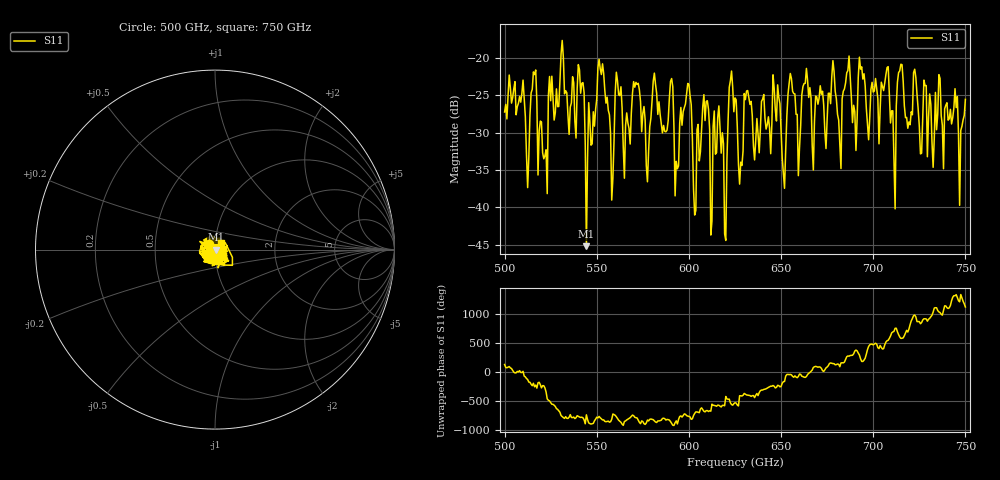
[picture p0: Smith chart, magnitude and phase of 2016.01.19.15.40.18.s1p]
!Created with skrf (http://scikit-rf.org).
# GHz S RI R 50.0
!freq ReS11 ImS11
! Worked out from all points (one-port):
!   401 points, 500 GHz to 750 GHz, reference 50 ohm
!   lowest |S11| = -45.2 dB at 544.4 GHz (marker M1), VSWR 1.01, Z = 50.5 - j0.11 ohm
!   |S11| at or under -10 dB: start of sweep to end of sweep
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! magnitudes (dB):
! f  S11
! 500 GHz  -27.3
! 512.5 GHz  -37.4
! 515.6 GHz  -21.9
! 521.9 GHz  -33.1
! 531.2 GHz  -17.7
! 541.2 GHz  -24.7
! 544.4 GHz  -45.2
! 551.9 GHz  -21.5
! 558.1 GHz  -39.0
! 562.5 GHz  -25.1
! 577.5 GHz  -36.6
! 590.6 GHz  -22.8
! 593.8 GHz  -34.9
! 600 GHz  -23.5
! 603.1 GHz  -41.0
! 608.8 GHz  -28.4
! 619.4 GHz  -43.6
! 622.5 GHz  -23.1
! 625 GHz  -25.4
! 628.1 GHz  -34.0
! 631.2 GHz  -24.4
! 646.9 GHz  -27.0
! 651.2 GHz  -35.4
! 656.2 GHz  -24.5
! 659.4 GHz  -35.8
! 687.5 GHz  -22.5
! 718.8 GHz  -29.4
! 750 GHz  -25.6
